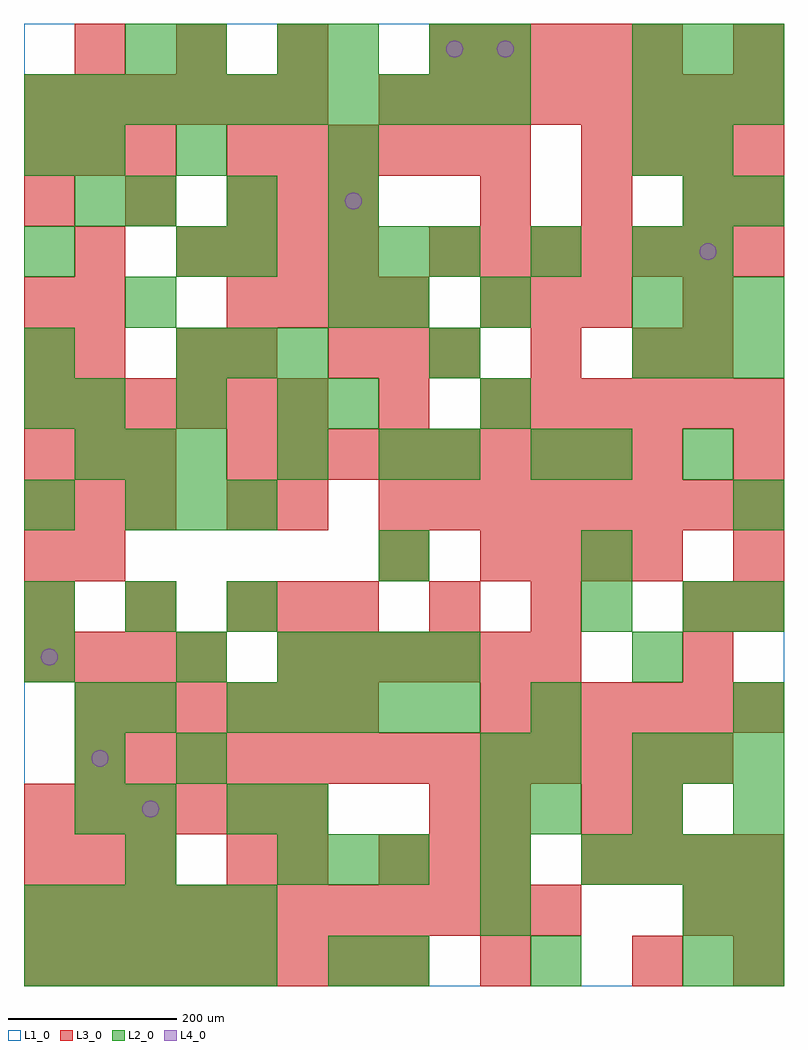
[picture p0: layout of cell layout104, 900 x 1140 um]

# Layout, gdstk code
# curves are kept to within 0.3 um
import gdstk
lib = gdstk.Library(unit=1e-6, precision=1e-09)
def R(c, l, rs):  # rectangles x0, y0, x1, y1
    for r in rs: c.add(gdstk.rectangle(r[:2], r[2:], *l))
def A(c, l, x, y, w, h, nx, ny, dx, dy):  # array of equal rectangles
    R(c, l, [(x+i*dx, y+j*dy, x+i*dx+w, y+j*dy+h) for i in range(nx) for j in range(ny)])
def P(c, l, *ps):  # polygons
    for p in ps: c.add(gdstk.Polygon(p, *l))
L1_0 = (1, 0)
L2_0 = (2, 0)
L3_0 = (3, 0)
L4_0 = (4, 0)

layout104 = lib.new_cell('layout104')
R(layout104, L1_0, [(0,0,900,1140)])
A(layout104, L2_0, 0, 0, 60, 60, 5, 2, 60, 60)
A(layout104, L2_0, 420, 0, 60, 60, 3, 1, 180, 0)
A(layout104, L2_0, 540, 60, 60, 60, 1, 4, 0, 60)
A(layout104, L2_0, 300, 120, 60, 60, 3, 1, 60, 0)
A(layout104, L2_0, 660, 120, 60, 60, 4, 1, 60, 0)
A(layout104, L2_0, 60, 180, 60, 60, 1, 3, 0, 60)
A(layout104, L2_0, 600, 180, 60, 60, 3, 1, 120, 0)
A(layout104, L2_0, 720, 240, 60, 60, 3, 2, 60, 480)
A(layout104, L2_0, 240, 300, 60, 60, 5, 1, 60, 0)
A(layout104, L2_0, 840, 300, 60, 60, 1, 3, 0, 120)
A(layout104, L2_0, 300, 360, 60, 60, 4, 1, 60, 0)
A(layout104, L2_0, 0, 420, 60, 60, 3, 1, 120, 0)
A(layout104, L2_0, 120, 540, 60, 60, 3, 1, 60, 0)
A(layout104, L2_0, 60, 600, 60, 60, 3, 1, 60, 0)
A(layout104, L2_0, 60, 660, 60, 60, 3, 1, 120, 0)
A(layout104, L2_0, 0, 720, 60, 60, 1, 3, 0, 120)
A(layout104, L2_0, 180, 720, 60, 60, 3, 1, 60, 0)
A(layout104, L2_0, 720, 780, 60, 60, 3, 2, 60, 240)
A(layout104, L2_0, 180, 840, 60, 60, 1, 3, 0, 120)
A(layout104, L2_0, 360, 840, 60, 60, 3, 1, 60, 0)
A(layout104, L2_0, 780, 840, 60, 60, 1, 3, 0, 60)
A(layout104, L2_0, 120, 900, 60, 60, 3, 1, 120, 0)
A(layout104, L2_0, 0, 1020, 60, 60, 10, 1, 60, 0)
A(layout104, L2_0, 720, 1080, 60, 60, 3, 1, 60, 0)
R(layout104, L2_0, [(360,0,420,60), (840,0,900,60), (780,60,840,120), (840,60,900,120), (120,120,180,180), (120,180,180,240), (240,180,300,240), (300,180,360,240), (180,240,240,300), (600,240,660,300), (120,300,180,360), (600,300,660,360), (0,360,60,420), (180,360,240,420), (720,360,780,420), (660,420,720,480), (780,420,840,480), (420,480,480,540), (660,480,720,540), (0,540,60,600), (300,600,360,660), (420,600,480,660), (480,600,540,660), (600,600,660,660), (660,600,720,660), (780,600,840,660), (0,660,60,720), (360,660,420,720), (540,660,600,720), (480,720,540,780), (120,780,180,840), (360,780,420,840), (420,780,480,840), (540,780,600,840), (240,840,300,900), (600,840,660,900), (720,840,780,900), (60,900,120,960), (840,900,900,960), (60,960,120,1020), (360,960,420,1020), (720,960,780,1020), (120,1080,180,1140), (300,1080,360,1140), (360,1080,420,1140), (480,1080,540,1140), (540,1080,600,1140)])
A(layout104, L3_0, 0, 0, 60, 60, 8, 1, 60, 0)
A(layout104, L3_0, 0, 60, 60, 60, 11, 1, 60, 0)
A(layout104, L3_0, 0, 120, 60, 60, 3, 2, 60, 420)
A(layout104, L3_0, 420, 120, 60, 60, 3, 1, 60, 0)
A(layout104, L3_0, 660, 120, 60, 60, 4, 2, 60, 840)
A(layout104, L3_0, 0, 180, 60, 60, 6, 2, 60, 480)
A(layout104, L3_0, 60, 240, 60, 60, 13, 1, 60, 0)
A(layout104, L3_0, 60, 300, 60, 60, 6, 1, 60, 0)
A(layout104, L3_0, 540, 300, 60, 60, 6, 2, 60, 360)
A(layout104, L3_0, 0, 360, 60, 60, 4, 1, 60, 0)
A(layout104, L3_0, 300, 360, 60, 60, 6, 1, 60, 0)
A(layout104, L3_0, 0, 420, 60, 60, 3, 2, 120, 480)
A(layout104, L3_0, 360, 420, 60, 60, 3, 1, 120, 0)
A(layout104, L3_0, 540, 480, 60, 60, 4, 1, 60, 0)
A(layout104, L3_0, 420, 540, 60, 60, 8, 2, 60, 480)
A(layout104, L3_0, 0, 600, 60, 60, 3, 2, 60, 360)
A(layout104, L3_0, 240, 600, 60, 60, 9, 1, 60, 0)
A(layout104, L3_0, 60, 720, 60, 60, 1, 3, 0, 60)
A(layout104, L3_0, 360, 720, 60, 60, 3, 1, 60, 0)
A(layout104, L3_0, 240, 780, 60, 60, 4, 1, 60, 0)
A(layout104, L3_0, 540, 780, 60, 60, 3, 1, 60, 0)
A(layout104, L3_0, 180, 840, 60, 60, 4, 1, 60, 0)
A(layout104, L3_0, 480, 840, 60, 60, 7, 1, 60, 0)
A(layout104, L3_0, 540, 900, 60, 60, 3, 1, 120, 0)
A(layout104, L3_0, 240, 960, 60, 60, 6, 1, 60, 0)
A(layout104, L3_0, 0, 1020, 60, 60, 6, 1, 60, 0)
A(layout104, L3_0, 60, 1080, 60, 60, 3, 1, 120, 0)
A(layout104, L3_0, 480, 1080, 60, 60, 5, 1, 60, 0)
R(layout104, L3_0, [(540,0,600,60), (720,0,780,60), (840,0,900,60), (780,60,840,120), (840,60,900,120), (240,120,300,180), (300,120,360,180), (480,180,540,240), (540,180,600,240), (660,180,720,240), (720,180,780,240), (780,360,840,420), (300,420,360,480), (780,420,840,480), (840,420,900,480), (0,480,60,540), (60,480,120,540), (420,480,480,540), (840,480,900,540), (240,540,300,600), (300,540,360,600), (840,600,900,660), (420,660,480,720), (0,720,60,780), (180,720,240,780), (240,720,300,780), (600,720,660,780), (720,720,780,780), (780,720,840,780), (0,780,60,840), (780,780,840,840), (300,900,360,960), (360,900,420,960), (840,900,900,960), (840,1080,900,1140)])
P(layout104, L4_0, [(40,390),(39.239,393.827),(37.071,397.071),(33.827,399.239),(30,400),(26.173,399.239),(22.929,397.071),(20.761,393.827),(20,390),(20.761,386.173),(22.929,382.929),(26.173,380.761),(30,380),(33.827,380.761),(37.071,382.929),(39.239,386.173)],
  [(100,270),(99.239,273.827),(97.071,277.071),(93.827,279.239),(90,280),(86.173,279.239),(82.929,277.071),(80.761,273.827),(80,270),(80.761,266.173),(82.929,262.929),(86.173,260.761),(90,260),(93.827,260.761),(97.071,262.929),(99.239,266.173)],
  [(160,210),(159.239,213.827),(157.071,217.071),(153.827,219.239),(150,220),(146.173,219.239),(142.929,217.071),(140.761,213.827),(140,210),(140.761,206.173),(142.929,202.929),(146.173,200.761),(150,200),(153.827,200.761),(157.071,202.929),(159.239,206.173)],
  [(400,930),(399.239,933.827),(397.071,937.071),(393.827,939.239),(390,940),(386.173,939.239),(382.929,937.071),(380.761,933.827),(380,930),(380.761,926.173),(382.929,922.929),(386.173,920.761),(390,920),(393.827,920.761),(397.071,922.929),(399.239,926.173)],
  [(520,1110),(519.239,1113.827),(517.071,1117.071),(513.827,1119.239),(510,1120),(506.173,1119.239),(502.929,1117.071),(500.761,1113.827),(500,1110),(500.761,1106.173),(502.929,1102.929),(506.173,1100.761),(510,1100),(513.827,1100.761),(517.071,1102.929),(519.239,1106.173)],
  [(580,1110),(579.239,1113.827),(577.071,1117.071),(573.827,1119.239),(570,1120),(566.173,1119.239),(562.929,1117.071),(560.761,1113.827),(560,1110),(560.761,1106.173),(562.929,1102.929),(566.173,1100.761),(570,1100),(573.827,1100.761),(577.071,1102.929),(579.239,1106.173)],
  [(820,870),(819.239,873.827),(817.071,877.071),(813.827,879.239),(810,880),(806.173,879.239),(802.929,877.071),(800.761,873.827),(800,870),(800.761,866.173),(802.929,862.929),(806.173,860.761),(810,860),(813.827,860.761),(817.071,862.929),(819.239,866.173)])

lib.write_gds('layout104.gds')
